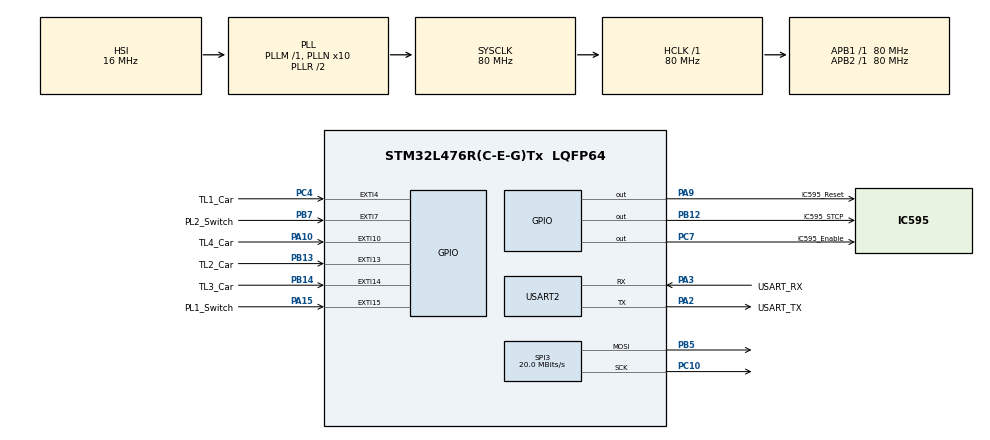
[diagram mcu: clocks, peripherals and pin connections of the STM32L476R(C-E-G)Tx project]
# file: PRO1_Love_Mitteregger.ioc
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FREERTOS.Mutexes01=mutex,Dynamic,NULL;buttonMutex,Dynamic,NULL
FREERTOS.Tasks01=idleTask,16,128,StartIdle,Default,NULL,Dynamic,NULL,NULL;pedestrianTask,40,128,StartPedestrian,Default,NULL,Dynamic,NULL,NULL;trafficTask,24,128,StartTraffic,Default,NULL,Dynamic,NULL,NULL;toggleW,48,128,StartToggleW,Default,NULL,Dynamic,NULL,NULL;toggleN,48,128,StartToggleN,Default,NULL,Dynamic,NULL,NULL;pedestrianTaskB,40,128,StartPedestrianB,Default,NULL,Dynamic,NULL,NULL;pedestrianDoubl,40,128,StartDouble,Default,NULL,Dynamic,NULL,NULL
FREERTOS.configTOTAL_HEAP_SIZE=5000
Mcu.Family=STM32L4
Mcu.Name=STM32L476R(C-E-G)Tx
Mcu.Package=LQFP64
NVIC.EXTI15_10_IRQn=true\:5\:0\:false\:false\:true\:true\:true\:true\:true
NVIC.EXTI9_5_IRQn=true\:5\:0\:false\:false\:true\:true\:true\:true\:true
NVIC.PriorityGroup=NVIC_PRIORITYGROUP_4
NVIC.TIM1_UP_TIM16_IRQn=true\:15\:0\:false\:false\:true\:false\:false\:true\:true
NVIC.TimeBase=TIM1_UP_TIM16_IRQn
NVIC.TimeBaseIP=TIM1
PA10.GPIO_Label=TL4_Car
PA10.GPIO_ModeDefaultEXTI=GPIO_MODE_EVT_RISING_FALLING
PA10.Signal=GPXTI10
PA13\ (JTMS-SWDIO).GPIO_Label=TMS
PA13\ (JTMS-SWDIO).Mode=Serial_Wire
PA13\ (JTMS-SWDIO).Signal=SYS_JTMS-SWDIO
PA14\ (JTCK-SWCLK).GPIO_Label=TCK
PA14\ (JTCK-SWCLK).Mode=Serial_Wire
PA14\ (JTCK-SWCLK).Signal=SYS_JTCK-SWCLK
PA15\ (JTDI).GPIO_Label=PL1_Switch
PA15\ (JTDI).GPIO_ModeDefaultEXTI=GPIO_MODE_IT_FALLING
PA15\ (JTDI).GPIO_PuPd=GPIO_PULLUP
PA15\ (JTDI).Signal=GPXTI15
PA2.GPIO_Label=USART_TX
PA2.GPIO_Mode=GPIO_MODE_AF_PP
PA2.GPIO_PuPd=GPIO_NOPULL
PA2.GPIO_Speed=GPIO_SPEED_FREQ_VERY_HIGH
PA2.Mode=Asynchronous
PA2.Signal=USART2_TX
PA3.GPIO_Label=USART_RX
PA3.GPIO_Mode=GPIO_MODE_AF_PP
PA3.GPIO_PuPd=GPIO_NOPULL
PA3.GPIO_Speed=GPIO_SPEED_FREQ_VERY_HIGH
PA3.Mode=Asynchronous
PA3.Signal=USART2_RX
PA9.GPIO_Label=IC595_Reset
PA9.GPIO_PuPd=GPIO_PULLUP
PA9.PinState=GPIO_PIN_RESET
PA9.Signal=GPIO_Output
PB12.GPIO_Label=IC595_STCP
PB12.GPIO_PuPd=GPIO_PULLDOWN
PB12.Signal=GPIO_Output
PB13.GPIO_Label=TL2_Car
PB13.GPIO_ModeDefaultEXTI=GPIO_MODE_EVT_RISING_FALLING
PB13.Signal=GPXTI13
PB14.GPIO_Label=TL3_Car
PB14.GPIO_ModeDefaultEXTI=GPIO_MODE_EVT_RISING_FALLING
PB14.Signal=GPXTI14
PB3\ (JTDO-TRACESWO).GPIO_Label=SWO
PB3\ (JTDO-TRACESWO).Signal=SYS_JTDO-SWO
PB5.Mode=TX_Only_Simplex_Unidirect_Master
PB5.Signal=SPI3_MOSI
PB7.GPIO_Label=PL2_Switch
PB7.GPIO_ModeDefaultEXTI=GPIO_MODE_IT_FALLING
PB7.GPIO_PuPd=GPIO_PULLUP
PB7.Signal=GPXTI7
PC10.Mode=TX_Only_Simplex_Unidirect_Master
PC10.Signal=SPI3_SCK
PC14-OSC32_IN\ (PC14).Mode=LSE-External-Oscillator
PC14-OSC32_IN\ (PC14).Signal=RCC_OSC32_IN
PC15-OSC32_OUT\ (PC15).Mode=LSE-External-Oscillator
PC15-OSC32_OUT\ (PC15).Signal=RCC_OSC32_OUT
PC4.GPIO_Label=TL1_Car
PC4.GPIO_ModeDefaultEXTI=GPIO_MODE_EVT_RISING_FALLING
PC4.Signal=GPXTI4
PC7.GPIO_Label=IC595_Enable
PC7.GPIO_PuPd=GPIO_NOPULL
PC7.Signal=GPIO_Output
PH0-OSC_IN\ (PH0).Signal=RCC_OSC_IN
PH1-OSC_OUT\ (PH1).Signal=RCC_OSC_OUT
ProjectManager.HeapSize=0x200
ProjectManager.StackSize=0x400
ProjectManager.TargetToolchain=STM32CubeIDE
RCC.ADCFreq_Value=64000000
RCC.AHBFreq_Value=80000000
RCC.APB1Freq_Value=80000000
RCC.APB1TimFreq_Value=80000000
RCC.APB2Freq_Value=80000000
RCC.APB2TimFreq_Value=80000000
RCC.CortexFreq_Value=80000000
RCC.HCLKFreq_Value=80000000
RCC.HSE_VALUE=8000000
RCC.HSI_VALUE=16000000
RCC.MSI_VALUE=4000000
RCC.PLLN=10
RCC.PLLSourceVirtual=RCC_PLLSOURCE_HSI
RCC.PREFETCH_ENABLE=1
RCC.SYSCLKFreq_VALUE=80000000
RCC.SYSCLKSource=RCC_SYSCLKSOURCE_PLLCLK
RCC.USBFreq_Value=64000000
RCC.VCOOutputFreq_Value=160000000
SPI3.BaudRatePrescaler=SPI_BAUDRATEPRESCALER_4
SPI3.CalculateBaudRate=20.0 MBits/s
SPI3.DataSize=SPI_DATASIZE_8BIT
SPI3.Direction=SPI_DIRECTION_2LINES
SPI3.FirstBit=SPI_FIRSTBIT_MSB
SPI3.Mode=SPI_MODE_MASTER
SPI3.VirtualType=VM_MASTER
USART2.VirtualMode-Asynchronous=VM_ASYNC
VP_FREERTOS_VS_CMSIS_V2.Mode=CMSIS_V2
VP_SYS_VS_tim1.Mode=TIM1
board=NUCLEO-L476RG

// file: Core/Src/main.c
/* USER CODE BEGIN Header */
/**
 ******************************************************************************
 * @file           : main.c
 * @brief          : Main program body
 ******************************************************************************
 * @attention
 *
 * Copyright (c) 2023 STMicroelectronics.
 * All rights reserved.
 *
 * This software is licensed under terms that can be found in the LICENSE file
 * in the root directory of this software component.
 * If no LICENSE file comes with this software, it is provided AS-IS.
 *
 ******************************************************************************
 */
/* USER CODE END Header */
#include "main.h"
#include "cmsis_os.h"
#include "spi.h"
#include "usart.h"
#include "gpio.h"

/* USER CODE BEGIN Includes */
#include "pro1_funct.h"
#include "pro1_test.h"
/* USER CODE END Includes */

/* USER CODE BEGIN PD */
#define RUN_TEST_PROGRAM
/* USER CODE END PD */

void SystemClock_Config(void);
void MX_FREERTOS_Init(void);

int main(void)
{

  /* MCU Configuration--------------------------------------------------------*/

  /* Reset of all peripherals, Initializes the Flash interface and the Systick. */
  HAL_Init();

  /* Configure the system clock */
  SystemClock_Config();

  /* Initialize all configured peripherals */
  MX_GPIO_Init();
  MX_USART2_UART_Init();
  MX_SPI3_Init();
  /* USER CODE BEGIN 2 */
#ifdef RUN_TEST_PROGRAM
	init_Test();
#else
	system_init();
#endif

  /* USER CODE END 2 */

  /* Init scheduler */
  osKernelInitialize();  /* Call init function for freertos objects (in freertos.c) */
  MX_FREERTOS_Init();

  /* Start scheduler */
  osKernelStart();
  /* We should never get here as control is now taken by the scheduler */
  /* Infinite loop */
  /* USER CODE BEGIN WHILE */
	while (1)
	{
#ifdef RUN_TEST_PROGRAM
	//trafficLED_Test_EW();
	//pedestrianLED_Test_W();
	//trafficSwitch_Test_NS();
	//trafficSwitch_Test_EW();
	//pedestrianSwitch_Test_N();
	//pedestrianSwitch_Test_W();
#else
#endif
    /* USER CODE END WHILE */

	}
}

void SystemClock_Config(void)
{
  RCC_OscInitTypeDef RCC_OscInitStruct = {0};
  RCC_ClkInitTypeDef RCC_ClkInitStruct = {0};

  /** Configure the main internal regulator output voltage
  */
  if (HAL_PWREx_ControlVoltageScaling(PWR_REGULATOR_VOLTAGE_SCALE1) != HAL_OK)
  {
    Error_Handler();
  }

  /** Initializes the RCC Oscillators according to the specified parameters
  * in the RCC_OscInitTypeDef structure.
  */
  RCC_OscInitStruct.OscillatorType = RCC_OSCILLATORTYPE_HSI;
  RCC_OscInitStruct.HSIState = RCC_HSI_ON;
  RCC_OscInitStruct.HSICalibrationValue = RCC_HSICALIBRATION_DEFAULT;
  RCC_OscInitStruct.PLL.PLLState = RCC_PLL_ON;
  RCC_OscInitStruct.PLL.PLLSource = RCC_PLLSOURCE_HSI;
  RCC_OscInitStruct.PLL.PLLM = 1;
  RCC_OscInitStruct.PLL.PLLN = 10;
  RCC_OscInitStruct.PLL.PLLP = RCC_PLLP_DIV7;
  RCC_OscInitStruct.PLL.PLLQ = RCC_PLLQ_DIV2;
  RCC_OscInitStruct.PLL.PLLR = RCC_PLLR_DIV2;
  if (HAL_RCC_OscConfig(&RCC_OscInitStruct) != HAL_OK)
  {
    Error_Handler();
  }

  /** Initializes the CPU, AHB and APB buses clocks
  */
  RCC_ClkInitStruct.ClockType = RCC_CLOCKTYPE_HCLK|RCC_CLOCKTYPE_SYSCLK
                              |RCC_CLOCKTYPE_PCLK1|RCC_CLOCKTYPE_PCLK2;
  RCC_ClkInitStruct.SYSCLKSource = RCC_SYSCLKSOURCE_PLLCLK;
  RCC_ClkInitStruct.AHBCLKDivider = RCC_SYSCLK_DIV1;
  RCC_ClkInitStruct.APB1CLKDivider = RCC_HCLK_DIV1;
  RCC_ClkInitStruct.APB2CLKDivider = RCC_HCLK_DIV1;

  if (HAL_RCC_ClockConfig(&RCC_ClkInitStruct, FLASH_LATENCY_4) != HAL_OK)
  {
    Error_Handler();
  }
}

void HAL_TIM_PeriodElapsedCallback(TIM_HandleTypeDef *htim)
{
  if (htim->Instance == TIM1) {
    HAL_IncTick();
  }
}

void Error_Handler(void)
{
	__disable_irq();
	while (1)
	{
	}
}

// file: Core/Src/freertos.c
/* USER CODE BEGIN Header */
/**
 ******************************************************************************
 * File Name          : freertos.c
 * Description        : Code for freertos applications
 ******************************************************************************
 * @attention
 *
 * Copyright (c) 2023 STMicroelectronics.
 * All rights reserved.
 *
 * This software is licensed under terms that can be found in the LICENSE file
 * in the root directory of this software component.
 * If no LICENSE file comes with this software, it is provided AS-IS.
 *
 ******************************************************************************
 */

/*
 ************************************************************************************
 *  Created on: Dec 8, 2023															*
 *      Author: Love Mitteregger													*
 ************************************************************************************
 *																					*
 *	MIT License is applied for the following tasks, and the following tasks only:	*
 *	- StartIdle																		*
 *	- StartPedestrian																*
 *	- StartTraffic																	*
 *	- StartToggleW																	*
 *	- StartToggleN																	*
 *	- StartPedestrianB																*
 *	Defined in the code below within this 'freertos.c' file.						*
 *																					*
 *	Copyright (c) 2023 Love Mitteregger												*
 *																					*
 *	Permission is hereby granted, free of charge, to any person obtaining a copy	*
 *	of this software and associated documentation files (the "Software"), to deal	*
 *	in the Software without restriction, including without limitation the rights	*
 *	to use, copy, modify, merge, publish, distribute, sublicense, and/or sell		*
 *	copies of the Software, and to permit persons to whom the Software is			*
 *	furnished to do so, subject to the following conditions:						*
 *																					*
 *	The above copyright notice and this permission notice shall be included in all	*
 *	copies or substantial portions of the Software.									*
 *																					*
 *	THE SOFTWARE IS PROVIDED "AS IS", WITHOUT WARRANTY OF ANY KIND, EXPRESS OR		*
 *	IMPLIED, INCLUDING BUT NOT LIMITED TO THE WARRANTIES OF MERCHANTABILITY,		*
 *	FITNESS FOR A PARTICULAR PURPOSE AND NONINFRINGEMENT. IN NO EVENT SHALL THE		*
 *	AUTHORS OR COPYRIGHT HOLDERS BE LIABLE FOR ANY CLAIM, DAMAGES OR OTHER			*
 *	LIABILITY, WHETHER IN AN ACTION OF CONTRACT, TORT OR OTHERWISE, ARISING FROM,	*
 *	OUT OF OR IN CONNECTION WITH THE SOFTWARE OR THE USE OR OTHER DEALINGS IN THE	*
 *	SOFTWARE.																		*
 *																					*
 ************************************************************************************/
/* USER CODE END Header */

#include "FreeRTOS.h"
#include "task.h"
#include "main.h"
#include "cmsis_os.h"

/* USER CODE BEGIN Includes */
#include "semphr.h"
#include "pro1_funct.h"
#include "pro1_test.h"
/* USER CODE END Includes */

/* USER CODE BEGIN PTD */
#define RUN_PROGRAM_VARIABLES
#define RUN_IDLE
#define RUN_PEDESTRIAN
#define RUN_TRAFFIC
#define RUN_TOGGLEW
#define RUN_TOGGLEN
/* USER CODE END PTD */

/* USER CODE BEGIN Variables */
#ifdef RUN_PROGRAM_VARIABLES
const TickType_t sysDelay = pdMS_TO_TICKS(800);			// used to avoid system hickup
const TickType_t mutexDelay = pdMS_TO_TICKS(500);		// used to avoid mutex hickup
const TickType_t toggleFreq = pdMS_TO_TICKS(250);		// arguments is ms, then coverted to ticks
const TickType_t walkingDelay = pdMS_TO_TICKS(12000);	// Real life ?? ms 3 for testing 17 for simulating
const TickType_t pedestrianDelay = pdMS_TO_TICKS(3000);
const TickType_t safetyDelay = pdMS_TO_TICKS(3000);		// Real life ~6000 ms
const TickType_t greenDelay = pdMS_TO_TICKS(8000); 		// Real life ~47000 ms
const TickType_t orangeDelay = pdMS_TO_TICKS(2500); 	// Real life ~5000 ms
const TickType_t redDelayMax = pdMS_TO_TICKS(1000);		// Real life ?? ms

long startTime;
long endTime;
long elapsedTime;

extern volatile uint8_t buttonNorthFlag;
extern volatile uint8_t buttonWestFlag;

volatile uint8_t statusPedestrian_N = 0;
volatile uint8_t statusPedestrian_W = 1;
volatile uint8_t statusTraffic_NS = 1;
volatile uint8_t statusTraffic_EW = 0;
volatile uint8_t lastActive_NS = 1;

volatile uint8_t statusVehicle_N = 0;
volatile uint8_t statusVehicle_S = 0;
volatile uint8_t statusVehicle_E = 0;
volatile uint8_t statusVehicle_W = 0;
uint8_t pendingTraffic = 0;
#else
// Required program delays, in ms.
const TickType_t sysDelay = pdMS_TO_TICKS(800);			// used to avoid mutex hickup
const TickType_t toggleFreq = pdMS_TO_TICKS(250);		// arguments is ms, then coverted to ticks
const TickType_t walkingDelay = pdMS_TO_TICKS(12000);	// Real life ?? ms 3 for testing 17 for simulating
const TickType_t pedestrianDelay = pdMS_TO_TICKS(3000);
const TickType_t safetyDelay = pdMS_TO_TICKS(3000);		// Real life ~6000 ms
const TickType_t greenDelay = pdMS_TO_TICKS(8000); 		// Real life ~47000 ms
const TickType_t orangeDelay = pdMS_TO_TICKS(2500); 	// Real life ~5000 ms
const TickType_t redDelayMax = pdMS_TO_TICKS(500);		// Real life ?? ms
const TickType_t testingDelay = pdMS_TO_TICKS(500); // ms to ticks
const TickType_t testingDelay2 = pdMS_TO_TICKS(80000); // ms to ticks

long startTime;
long endTime;
long elapsedTime;

extern volatile uint8_t buttonNorthFlag;
extern volatile uint8_t buttonWestFlag;

volatile uint8_t statusPedestrian_N = 0;
volatile uint8_t statusPedestrian_W = 1;
volatile uint8_t statusTraffic_NS = 1;
volatile uint8_t statusTraffic_EW = 0;

volatile uint8_t statusVehicle_N = 0;
volatile uint8_t statusVehicle_S = 0;
volatile uint8_t statusVehicle_E = 0;
volatile uint8_t statusVehicle_W = 0;
uint8_t pendingTraffic = 0;

uint8_t testVar = 1;

#endif
/* USER CODE END Variables */
/* Definitions for idleTask */
osThreadId_t idleTaskHandle;
const osThreadAttr_t idleTask_attributes = {
  .name = "idleTask",
  .stack_size = 128 * 4,
  .priority = (osPriority_t) osPriorityBelowNormal,
};
/* Definitions for pedestrianTask */
osThreadId_t pedestrianTaskHandle;
const osThreadAttr_t pedestrianTask_attributes = {
  .name = "pedestrianTask",
  .stack_size = 128 * 4,
  .priority = (osPriority_t) osPriorityHigh,
};
/* Definitions for trafficTask */
osThreadId_t trafficTaskHandle;
const osThreadAttr_t trafficTask_attributes = {
  .name = "trafficTask",
  .stack_size = 128 * 4,
  .priority = (osPriority_t) osPriorityNormal,
};
/* Definitions for toggleW */
osThreadId_t toggleWHandle;
const osThreadAttr_t toggleW_attributes = {
  .name = "toggleW",
  .stack_size = 128 * 4,
  .priority = (osPriority_t) osPriorityRealtime,
};
/* Definitions for toggleN */
osThreadId_t toggleNHandle;
const osThreadAttr_t toggleN_attributes = {
  .name = "toggleN",
  .stack_size = 128 * 4,
  .priority = (osPriority_t) osPriorityRealtime,
};
/* Definitions for pedestrianTaskB */
osThreadId_t pedestrianTaskBHandle;
const osThreadAttr_t pedestrianTaskB_attributes = {
  .name = "pedestrianTaskB",
  .stack_size = 128 * 4,
  .priority = (osPriority_t) osPriorityHigh,
};
/* Definitions for pedestrianDoubl */
osThreadId_t pedestrianDoublHandle;
const osThreadAttr_t pedestrianDoubl_attributes = {
  .name = "pedestrianDoubl",
  .stack_size = 128 * 4,
  .priority = (osPriority_t) osPriorityHigh,
};
/* Definitions for mutex */
osMutexId_t mutexHandle;
const osMutexAttr_t mutex_attributes = {
  .name = "mutex"
};
/* Definitions for buttonMutex */
osMutexId_t buttonMutexHandle;
const osMutexAttr_t buttonMutex_attributes = {
  .name = "buttonMutex"
};

void StartIdle(void *argument);
void StartPedestrian(void *argument);
void StartTraffic(void *argument);
void StartToggleW(void *argument);
void StartToggleN(void *argument);
void StartPedestrianB(void *argument);
void StartDouble(void *argument);

void MX_FREERTOS_Init(void); /* (MISRA C 2004 rule 8.1) */

void MX_FREERTOS_Init(void) {
  /* Create the mutex(es) */
  /* creation of mutex */
  mutexHandle = osMutexNew(&mutex_attributes);

  /* creation of buttonMutex */
  buttonMutexHandle = osMutexNew(&buttonMutex_attributes);

  /* Create the thread(s) */
  /* creation of idleTask */
  idleTaskHandle = osThreadNew(StartIdle, NULL, &idleTask_attributes);

  /* creation of pedestrianTask */
  pedestrianTaskHandle = osThreadNew(StartPedestrian, NULL, &pedestrianTask_attributes);

  /* creation of trafficTask */
  trafficTaskHandle = osThreadNew(StartTraffic, NULL, &trafficTask_attributes);

  /* creation of toggleW */
  toggleWHandle = osThreadNew(StartToggleW, NULL, &toggleW_attributes);

  /* creation of toggleN */
  toggleNHandle = osThreadNew(StartToggleN, NULL, &toggleN_attributes);

  /* creation of pedestrianTaskB */
  pedestrianTaskBHandle = osThreadNew(StartPedestrianB, NULL, &pedestrianTaskB_attributes);

  /* creation of pedestrianDoubl */
  pedestrianDoublHandle = osThreadNew(StartDouble, NULL, &pedestrianDoubl_attributes);

}

/* USER CODE BEGIN Header_StartIdle */
/**
 * @brief  Function implementing the idleTask thread.
 * @param  argument: Not used
 * @retval None
 *
 * The StartIdle task is assigned a priority level of 9 out of 48.
 *
 * The purpose of the task is to simulate a state where there are no
 * active cars in any direction, and no pedestrians who wish to cross
 * at a given point of time.
 *
 * Despite no external activity, the idle task circulates between
 * the enable and disable traffic protocols, pending the active
 * traffic and pedestrian lights of each street direction
 * synchroniously, without keeping traffic enabled in both
 * directions simultaneously.
 *
 * The conditions for the StartIdle task to run is that no other
 * higher priority task currently is executing a larger set of
 * instructions (occupying resources).
 *
 * Furthermore, the functions within the task are only executed if
 * the StartIdle task has been given the mutex semaphore or if
 * there is no pending traffic in any direction and if neither the
 * pedestrian crossing buttons have been activated. Note that
 * the StartIdle task can of course run while there is pending
 * traffic, or either of the pedestrian corssing buttons have been
 * activated, if it has already taken the mutex semaphore.
 *
 * The StartIdle task ensures that an enable or disable sequence
 * completes for a given direction, before it can be interrupted by
 * a higher priority task. This is done by giving the StartIdle
 * task the mutexHandle semaphore, preventing the other tasks to
 * utilize the resources of the microprocessor unit.
 *
 * Once a sequence is completed and the traffic lights of a
 * direction is set, the mutex is returned and available
 * for another task to take.
 *
 * Another task may then take the mutex as it is returned and,
 * for example, renable the traffic lights of the direction that just
 * were disabled, before returning the mutex and allowing for the
 * StartIdle task to retake the mutex and proceeding with its next
 * instruction.
 *
 * If this occurs, there may be a risk that the StartIdle tasks next
 * in line instruction is set to enable the traffic lights of the
 * opposite direction of the renabled direction, as the StartIdle task
 * previously had deactiavated the renabled direction. Causing all
 * traffic lights to go green, resulting in havoc.
 *
 * To avoid that the green lights of a traffic direction is enabled while
 * the opposite traffic direction already is enabled, due to for example
 * the routine of another task that for a while took the mutex, a check
 * is implemented to confirm that the traffic lights of the opposite
 * direction are indeed already turned red, before proceeding with
 * sequence for enabling the traffic lights for the specific direction.
 *
 */
/* USER CODE END Header_StartIdle */
void StartIdle(void *argument)
{
  /* USER CODE BEGIN StartIdle */
	/* Infinite loop */
	while(1)
	{
#ifdef RUN_IDLE
		// Recursive while loop that first checks if there is NOT any pending traffic NOR any activated pedestrian crossing buttons, before proceeding
		if( !pendingTraffic && (!buttonWestFlag || !buttonNorthFlag) ) {
			// If there currently is traffic in the NORTH and SOUTH direction, and the NORTH pedestrian crossing buttons have not been activated
			if (statusTraffic_NS && !buttonNorthFlag) {
				xSemaphoreTake(mutexHandle, 0);				// Take the mutexHandle semaphore IF it is available AT THIS VERY INSTANT
				disableTraffic(T_NORTHSOUTH, P_WEST);		// If mutex could be taken, proceed with disable sequence for the NORTH and SOUTH direction and WEST pedestrian crossing
				xSemaphoreGive(mutexHandle);				// Give mutex back for any other task to take
				vTaskDelay(mutexDelay);						// Small delay to ensure that the MPU properly gives back the mutex semaphore
				xSemaphoreTake(mutexHandle, portMAX_DELAY);	// If mutex is available, take it again, else WAIT INDEFINITELY until the mutex semaphore becomes available
				if (!statusTraffic_NS) {					// When mutex finally is taken, confirm that there currently is not enabled traffic in the NORTH and SOUTH direction
					activateTraffic(T_EASTWEST, P_NORTH);	// If traffic in NORTH and SOUTH direction is disabled, then enable traffic in EAST and WEST direction and NORTH pedestrian crossing
				}
				xSemaphoreGive(mutexHandle);				// Return the semaphore for other tasks to take
			// Else, if there currently is traffic in the EAST and WEST direction, and the WEST pedestrian crossing buttons have not been activated
			} else if (statusTraffic_EW && !buttonWestFlag){
				xSemaphoreTake(mutexHandle, 0);				// Take the mutexHandle semaphore IF it is available AT THIS VERY INSTANT
				disableTraffic(T_EASTWEST, P_NORTH);		// If mutex could be taken, proceed with disable sequence for the EAST and WEST direction and NORTH pedestrian crossing
				xSemaphoreGive(mutexHandle);				// Give mutex back for any other task to take
				vTaskDelay(mutexDelay);						// Small delay to ensure that the MPU properly gives back the mutex semaphore
				xSemaphoreTake(mutexHandle, portMAX_DELAY); // If mutex is available, take it again, else WAIT INDEFINITELY until the mutex semaphore becomes available
				if (!statusTraffic_EW) {					// When mutex finally is taken, confirm that there currently is not enabled traffic in the EAST and WEST direction
					activateTraffic(T_NORTHSOUTH, P_WEST);	// If traffic in EAST and WEST direction is disabled, then enable traffic in NORTH and SOUTH direction and WEST pedestrian crossing
				}
				xSemaphoreGive(mutexHandle);				// Return the semaphore for other tasks to take
			}
			vTaskDelay(greenDelay);	// Either the NORT and SOUTH or EAST and WEST directions have been enabled, the traffic lights should remain GREEN for greenDelay ms
		}													// before the StartIdle task recursively runs for another loop and cycles the traffic lights statuses
#else
		if( !pendingTraffic && (!buttonWestFlag || !buttonNorthFlag)) {
			if (statusTraffic_NS && !buttonNorthFlag) {
				xSemaphoreTake(mutexHandle, 0);
				disableTraffic_Test(T_NORTHSOUTH, P_WEST);
				xSemaphoreGive(mutexHandle);
				vTaskDelay(testingDelay);
				xSemaphoreTake(mutexHandle, portMAX_DELAY);
				if (!statusTraffic_NS) {
					activateTraffic_Test(T_EASTWEST, P_NORTH);
				}
				xSemaphoreGive(mutexHandle);
			} else if (statusTraffic_EW && !buttonWestFlag){
				xSemaphoreTake(mutexHandle, 0);
				disableTraffic_Test(T_EASTWEST, P_NORTH);
				xSemaphoreGive(mutexHandle);
				vTaskDelay( testingDelay );
				xSemaphoreTake(mutexHandle, portMAX_DELAY);
				if (!statusTraffic_EW) {
					activateTraffic_Test(T_NORTHSOUTH, P_WEST);
				}
				xSemaphoreGive(mutexHandle);
			}
			vTaskDelay(greenDelay);
		}
#endif
		osDelay(1);
	}
  /* USER CODE END StartIdle */
}

void StartPedestrian(void *argument)
{
  /* USER CODE BEGIN StartPedestrian */
	/* Infinite loop */
	for(;;)
	{
#ifdef RUN_PEDESTRIAN
		// Note1, see StartDouble TASK for general comments regarding the logic of the pedestrian crossings
		// Note2, see StartPedestrianB for the other parallel priority task where traffic lights are changed due to the north pedestrian crossing buttons being pressed
		if (buttonWestFlag && !buttonNorthFlag) { // If the west pedestrian crossing buttons are pressed, proceed
			xSemaphoreTake(mutexHandle, portMAX_DELAY); // TAKE MUTEX
			if (statusPedestrian_W) {
				buttonWestFlag = 0;
			} else if (!lastActive_NS && !statusTraffic_EW && !statusTraffic_NS) {
				activateTraffic(T_NORTHSOUTH, P_WEST);
				vTaskDelay(walkingDelay);
			} else if (lastActive_NS && !statusTraffic_EW && !statusTraffic_NS) {
				if (buttonNorthFlag) {
					activateTraffic(T_NORTHSOUTH, P_WEST);
					vTaskDelay(walkingDelay);
					disableTraffic(T_EASTWEST, P_NORTH);
					activateTraffic(T_NORTHSOUTH, P_WEST);
					vTaskDelay(walkingDelay);
				} else {
					activateTraffic(T_NORTHSOUTH, P_WEST);
					vTaskDelay(walkingDelay);
				}
			} else if (!lastActive_NS && statusTraffic_EW) {
				disableTraffic(T_EASTWEST, P_NORTH);
				activateTraffic(T_NORTHSOUTH, P_WEST);
				vTaskDelay(walkingDelay);
			} else if (lastActive_NS && statusTraffic_EW) {
				if (buttonNorthFlag) {
					continue;
				} else {
					disableTraffic(T_EASTWEST, P_NORTH);
					activateTraffic(T_NORTHSOUTH, P_WEST);
					vTaskDelay(walkingDelay);
				}
			}
			buttonWestFlag = 0;
			xSemaphoreGive(mutexHandle); // GIVE MUTEX
		}
#else
		if (buttonWestFlag || buttonNorthFlag) {
			xSemaphoreTake(mutexHandle, portMAX_DELAY);
			if (buttonWestFlag && !buttonNorthFlag) {
				if (statusPedestrian_W) {
					buttonWestFlag = 0;
				} else if (statusTraffic_EW) {
					disableTraffic_Test(T_EASTWEST, P_NORTH);
					activateTraffic_Test(T_NORTHSOUTH, P_WEST);
					vTaskDelay(walkingDelay);
				} else if (!statusTraffic_NS && !statusTraffic_EW) {
					activateTraffic_Test(T_NORTHSOUTH, P_WEST);
					vTaskDelay(walkingDelay);
				}
			} else if (!buttonWestFlag && buttonNorthFlag) {
				if (statusPedestrian_N) {
					buttonWestFlag = 0;
				} else if (statusTraffic_NS) {
					disableTraffic_Test(T_NORTHSOUTH, P_WEST);
					activateTraffic_Test(T_EASTWEST, P_NORTH);
					vTaskDelay(walkingDelay);
				} else if (!statusTraffic_NS && !statusTraffic_EW) {
					activateTraffic_Test(T_EASTWEST, P_NORTH);
					vTaskDelay(walkingDelay);
				}

			} else if (buttonWestFlag && buttonNorthFlag) {
				if (statusPedestrian_W) {
					buttonWestFlag = 0;
				} else if (statusPedestrian_N) {
					buttonWestFlag = 0;
				}
			}
			xSemaphoreGive(mutexHandle);
			vTaskDelay(sysDelay);
		}
#endif
		osDelay(1);
	}
  /* USER CODE END StartPedestrian */
}

/* USER CODE BEGIN Header_StartTraffic */
/**
 * @brief Function implementing the trafficTask thread.
 * @param argument: Not used
 * @retval None
 *
 * The StartTraffic task is assigned a priority level 17 out of 48
 *
 * The purpose of the task is to simulate a state where there are
 * active vehicles in any direction or multiple directions
 * simultaneously, and no pedestrians who wish to cross at a
 * given point of time.
 *
 * The conditions for the StartIdle task to run is that no other
 * higher priority task currently is executing a larger set of
 * instructions (occupying resources).
 *
 * Furthermore, the functions within the task are only executed if
 * the polling conducted by the checkTraffic function returns that
 * there is indeed active traffic at a given moment of time. Again,
 * the mutex semaphore must be taken to continue executing tasks.
 * If the mutex semaphore is not available, the system will wait
 * INDEFINETIELY until it is.
 *
 * The mutex is kept until every possible traffic scenario has been
 * checked, and executed if valid.
 *
 * The possible traffic scenarios are as follows:
 * 1.	Traffic lights in all street directions are RED, and a vehicle
 * 		appears from ONE direction.
 *
 * 2.	Traffic lights remain GREEN if there are active cars in either
 * 		allowed direction and NO active cars are waiting on red traffic lights.
 * 		-	Note that a subscenario to consider in scenario 2:
 * 			The sub scenario is that a car arrives at a red light
 * 			while there are active cars in either allowed direction.
 *
 * 3.	A car arrives at a RED light and there are NO a active cars in
 * 		either allowed direction, causing the RED traffic lights to
 * 		immediately transition to GREEN.
 *
 * 4.	Congestion, which requires cycling between currently enabled direction
 * 		similar to that of the idle task.
 */
/* USER CODE END Header_StartTraffic */
void StartTraffic(void *argument)
{
  /* USER CODE BEGIN StartTraffic */
	/* Infinite loop */
	while(1)
	{
#ifdef RUN_TRAFFIC
		pendingTraffic = checkTraffic();					// Start by checking the current status of all vehicles
		if ( pendingTraffic ) {								// If there are any vehicles enabled
			xSemaphoreTake(mutexHandle, portMAX_DELAY);		// Wait INDEFINITELY to take the mutex and proceed with any of the scenarios below once taken

			// SCENARIO 1: Traffic lights in all street directions are RED, and a vehicle appears from ONE direction
			// If NEITHER DIRECTION is ENABLED and there is traffic from the NORTH OR SOUTH
			if ( (!statusTraffic_NS && !statusTraffic_EW) && (statusVehicle_N || statusVehicle_S) && (!statusVehicle_E && !statusVehicle_W) ) {
				activateTraffic(T_NORTHSOUTH, P_WEST);		// Enable traffic in NORTH and SOUTH direction, and the WEST pedestrian crossing
				vTaskDelay(greenDelay);						// Hold the lights green for greenDelay ms.
			// If NEITHER DIRECTION is ENABLED and there is traffic from the EAST OR WEST
			} else if ( (!statusTraffic_NS && !statusTraffic_EW) && (statusVehicle_E || statusVehicle_W ) && (!statusVehicle_N && !statusVehicle_S) ) {
				activateTraffic(T_EASTWEST, P_NORTH);		// Enable traffic in EAST and WEST direction, and the NORTH pedestrian crossing
				vTaskDelay(greenDelay);						// Hold the lights green for greenDelay ms.

			// SCENARIO 2 (R2.5): Traffic lights remain green if there are active cars in either allowed direction and no active cars are waiting on red traffic lights
			// If there is only traffic in the NORTH and SOUTH direction, and it is caused by either the NORTH or SOUTH vehicle only
			} else if ( (statusTraffic_NS && !statusTraffic_EW) && (statusVehicle_N || statusVehicle_S) && (!statusVehicle_E && !statusVehicle_W) ) {
				// Then confirm that there is no pedestrian that wants to cross the NORTH pedestrian crossing AND that the traffic of the NORTH and SOUTH direction is enabled
				if (statusTraffic_NS && !buttonNorthFlag) {	// If there is no pedestrian that wish to cross, keep the traffic static until a vehicle appears in ooposite direction
					staticTraffic(); 						// Subscenario 2 (R2.6), where a vehicle appears in opposite direction, is handled within the staticTraffic function
				// If a pedestrian suddenly wish to cross the NORTH pedestrian crossing
				} else if (buttonNorthFlag) {
					disableTraffic(T_NORTHSOUTH, P_WEST);	// Proceed by disabling traffic in NORTH and SOUTH direction, and for the WEST pedestrian crossing
					activateTraffic(T_EASTWEST, P_NORTH);	// Enable traffic in EAST and WEST direction, and the NORTH pedestrian crossing
					pedestrianReset(P_NORTH);				// Disable the BLUE NORTH crossing pending pedestrian indicator light by resetting it
				// Else the traffic of the NORTH and SOUTH direction is not yet enabled and as such must be anbled before being kept at a static state
				} else {
					activateTraffic(T_NORTHSOUTH, P_WEST);	// Enable traffic in NORTH and SOUTH direction, and the WEST pedestrian crossing
					staticTraffic();						// Keep the traffic static until either a pedestrian or vehicle wants to cross the current traffic direction
				}
			// If there is only traffic in the EAST and WEST direction, and it is caused by either the EAST or WEST vehicle only
			} else if ( (!statusTraffic_NS && statusTraffic_EW) && (statusVehicle_E || statusVehicle_W ) && (!statusVehicle_N && !statusVehicle_S) ) {
				// Then confirm that there is no pedestrian that wants to cross the WEST pedestrian crossing AND that the traffic of the EAST and WEST direction is enabled
				if (statusTraffic_EW && !buttonWestFlag) {
					staticTraffic(); 						// Subscenario 2 (R2.6), where a vehicle appears in opposite direction, is handled within the staticTraffic function
					// If a pedestrian suddenly wish to cross the WEST pedestrian crossing
				} else if (buttonWestFlag) {
					disableTraffic(T_EASTWEST, P_NORTH);	// Proceed by disabling traffic in EAST and WEST direction, and for the NORTH pedestrian crossing
					activateTraffic(T_NORTHSOUTH, P_WEST);	// Enable traffic in NORTH and SOUTH direction, and the WEST pedestrian crossing
					pedestrianReset(P_WEST);				// Disable the BLUE WEST crossing pending pedestrian indicator light by resetting it
				// Else the traffic of the EAST and WEST direction is not yet enabled and as such must be anbled before being kept at a static state
				} else {
					activateTraffic(T_EASTWEST, P_NORTH);	// Enable traffic in EAST and WEST direction, and the NORTH pedestrian crossing
					staticTraffic();						// Keep the traffic static until either a pedestrian or vehicle wants to cross the current traffic direction
				}

			// SCENARIO 3 (R2.7): A car arrives at a RED light and there are NO a active cars in either allowed direction, causing the RED traffic lights to immediately transition to GREEN
			// If traffic is enabled for the EAST and WEST direction, and vehicles appear from NORTH and SOUTH when there are no vehicles approaching from EAST or WEST
			} else if ( (!statusTraffic_NS && statusTraffic_EW) && (statusVehicle_N || statusVehicle_S) && (!statusVehicle_E && !statusVehicle_W)) {
				disableTraffic(T_EASTWEST, P_NORTH);		// Proceed by disabling traffic in EAST and WEST direction, and for the NORTH pedestrian crossing
				activateTraffic(T_NORTHSOUTH, P_WEST);		// Enable traffic in NORTH and SOUTH direction, and the WEST pedestrian crossing
			// If traffic is enabled for the NORTH and SOUTH direction, and vehicles appear from EAST and WEST when there are no vehicles approaching from NORTH or SOUTH
			} else if ( (statusTraffic_NS && !statusTraffic_EW) && (statusVehicle_E || statusVehicle_W) && (!statusVehicle_N && !statusVehicle_S)) {
				disableTraffic(T_NORTHSOUTH, P_WEST);		// Proceed by disabling traffic in NORTH and SOUTH direction, and for the WEST pedestrian crossing
				activateTraffic(T_EASTWEST, P_NORTH);		// Enable traffic in EAST and WEST direction, and the NORTH pedestrian crossing

			// SCENARIO 4: Congestion, which requires cycling between currently enabled direction, similar to the logic of the idle task
			// If there are vehicles appearing from every direction
			} else if ( (statusVehicle_E || statusVehicle_W ) && (statusVehicle_N || statusVehicle_S)) {
				// Confirm if the currently enabled traffic direction is NORTH and SOUTH
				if (statusTraffic_NS) {
					disableTraffic(T_NORTHSOUTH, P_WEST);	// Proceed by disabling traffic in NORTH and SOUTH direction, and for the WEST pedestrian crossing
					activateTraffic(T_EASTWEST, P_NORTH);	// Enable traffic in EAST and WEST direction, and the NORTH pedestrian crossing
				// If currently enabled traffic direction is NOT NORTH and SOUTH, it must be EAST and WEST
				} else {
					disableTraffic(T_EASTWEST, P_NORTH);	// Proceed by disabling traffic in EAST and WEST direction, and for the NORTH pedestrian crossing
					activateTraffic(T_NORTHSOUTH, P_WEST);	// Enable traffic in NORTH and SOUTH direction, and the WEST pedestrian crossing
				}
				vTaskDelay(greenDelay); 					// Must be placed last, if not then redDelayMax logic will not work properly.

			// END OF ALL SCENARIOS
			}
			xSemaphoreGive(mutexHandle);					// Return mutex for other tasks to take
		}
#else
		pendingTraffic = checkTraffic_Test();
		if ( pendingTraffic ) {
			xSemaphoreTake(mutexHandle, portMAX_DELAY);
			// If all roads are red, and a vehicle appears from ONE direction
			if ( (!statusTraffic_NS && !statusTraffic_EW) && (statusVehicle_N || statusVehicle_S) && (!statusVehicle_E && !statusVehicle_W)) {
				activateTraffic_Test(T_NORTHSOUTH, P_WEST);
				vTaskDelay(greenDelay);
			} else if ( (!statusTraffic_NS && !statusTraffic_EW) && (statusVehicle_E || statusVehicle_W ) && (!statusVehicle_N && !statusVehicle_S)) {
				activateTraffic_Test(T_EASTWEST, P_NORTH);
				vTaskDelay(greenDelay);
				// R2.5 A traffic light remains green if there are active cars in either allowed direction and no active cars are waiting on red traffic lights
			} else if ( (statusTraffic_NS && !statusTraffic_EW) && (statusVehicle_N || statusVehicle_S) && (!statusVehicle_E && !statusVehicle_W)) {
				if (statusTraffic_NS && !buttonNorthFlag) {
					staticTraffic_Test(); // R2.6 is considered within the staticTraffic_Test function
				} else if (buttonNorthFlag) {
					disableTraffic_Test(T_NORTHSOUTH, P_WEST);
					activateTraffic_Test(T_EASTWEST, P_NORTH);
					pedestrianReset_Test(P_NORTH);
				} else {
					activateTraffic_Test(T_NORTHSOUTH, P_WEST);
					staticTraffic_Test();
				}
			} else if ( (!statusTraffic_NS && statusTraffic_EW) && (statusVehicle_E || statusVehicle_W ) && (!statusVehicle_N && !statusVehicle_S)) {
				if (statusTraffic_EW && !buttonWestFlag) {
					staticTraffic_Test(); // R2.6 is considered within the staticTraffic_Test function
				} else if (buttonWestFlag) {
					disableTraffic_Test(T_EASTWEST, P_NORTH);
					activateTraffic_Test(T_NORTHSOUTH, P_WEST);
					pedestrianReset_Test(P_WEST);
				} else {
					activateTraffic_Test(T_EASTWEST, P_NORTH);
					staticTraffic_Test();
				}
				// R2.7 If a car arrives at a red light and there are no active cars in either allowed direction, the signal transitions immediately to green
			} else if ( (!statusTraffic_NS && statusTraffic_EW) && (statusVehicle_N || statusVehicle_S) && (!statusVehicle_E && !statusVehicle_W)) {
				disableTraffic_Test(T_EASTWEST, P_NORTH);
				activateTraffic_Test(T_NORTHSOUTH, P_WEST);
			} else if ( (statusTraffic_NS && !statusTraffic_EW) && (statusVehicle_E || statusVehicle_W) && (!statusVehicle_N && !statusVehicle_S)) {
				disableTraffic_Test(T_NORTHSOUTH, P_WEST);
				activateTraffic_Test(T_EASTWEST, P_NORTH);
				// Congestion - Conduct almost same logic as forever loop
			} else if ( (statusVehicle_E || statusVehicle_W ) && (statusVehicle_N || statusVehicle_S)) {
				if (statusTraffic_NS) {
					disableTraffic_Test(T_NORTHSOUTH, P_WEST);
					activateTraffic_Test(T_EASTWEST, P_NORTH);
				} else {
					disableTraffic_Test(T_EASTWEST, P_NORTH);
					activateTraffic_Test(T_NORTHSOUTH, P_WEST);
				}
				vTaskDelay(greenDelay);	// Must be placed last, if not then redDelayMax logic will not work properly.
			}
			xSemaphoreGive(mutexHandle);
		}
#endif
		osDelay(1);
	}
  /* USER CODE END StartTraffic */
}

/* USER CODE BEGIN Header_StartToggleW */
/**
 * @brief Function implementing the toggleW thread.
 * @param argument: Not used
 * @retval None
 *
 * The StartToggle task is assigned a priority level 41 out of 48
 *
 * The purpose of the task is to let the BLUE pedestrian indicator
 * lights toggle on and of at toggleFreq ms, whenever a pedestrian
 * has pushed any of the two the WEST pedestrian crossing buttons.
 *
 * The conditions for the task to run is that the WEST pedestrian
 * crossing must NOT already be enabled, neither can any of the
 * WEST pedestrian crossing buttons be read as deactivated, if
 * so is the case, the task simply just resets the BLUE pedestrian
 * indicator lights to a disabled state by pushing a low bit
 * to the the bit of the light at the shift register.
 *
 * If this condition is met, the pedestrian pending toggle
 * function is call whenever any of the WEST pedestrian pending
 * buttons are pressed, setting their indicative ISR flag
 * to high.
 *
 * Note that the pedestrian button ISR flags are set to low
 * whenever its given pedestrian crossing lights turn GREEN.
 *
 * The task is recursively run every toggleFreq ms.
 * As it is the highest priority task, it will always
 * run. However once it has executed a cycle of its forever loop,
 * the scheduler will resume the instruction of any of the lower
 * priority tasks which may for example carry out a sequence of
 * instructions that are guarded by mutex.
 * The toggle delay will ensure that the lower priority tasks can
 * proceed somewhat it with its current task before the higher
 * ToggleW task grabs all resources again to toggle the BLUE
 * indicator light ON or OFF.
 *
 * The toggle task for the WEST BLUE pedestrian indicator light
 * is defined as its own task, separate from the NORTH blue
 * pedestrian indicator light, with the same task priority to
 * allow for them to toggle on and off concurrently.
 *
 */
/* USER CODE END Header_StartToggleW */
void StartToggleW(void *argument)
{
  /* USER CODE BEGIN StartToggleW */
	/* Infinite loop */
	for(;;)
	{
#ifdef RUN_TOGGLEN
		// Initial check if the WEST pedestrian crossing has turned GREEN OR if the button ISR flag have been reset to low
		if(statusPedestrian_W || !buttonWestFlag) {
			pedestrianReset(P_WEST);	// Reset the BLUE indicator light bit to low at the shift register
		} else if (buttonWestFlag) {	// If the previous criteria is not met, and if the button ISR flag remains high
			pedestrianPending(P_WEST);	// Toggle the BLUE indicator light ON and OFF
			vTaskDelay(toggleFreq);		// wait toggleFreq ms for the next recursive toggle of the BLUE indicator light
		}
#else
#endif
		osDelay(1);
	}
  /* USER CODE END StartToggleW */
}

/* USER CODE BEGIN Header_StartToggleN */
/**
 * @brief Function implementing the toggleN thread.
 * @param argument: Not used
 * @retval None
 *
 * The StartToggle task is assigned a priority level 41 out of 48
 *
 * The purpose of the task is to let the BLUE pedestrian indicator
 * lights toggle on and of at toggleFreq ms, whenever a pedestrian
 * has pushed any of the two the NORTH pedestrian crossing buttons.
 *
 * The conditions for the task to run is that the NORTH pedestrian
 * crossing must NOT already be enabled, neither can any of the
 * NORTH pedestrian crossing buttons be read as deactivated, if
 * so is the case, the task simply just resets the BLUE pedestrian
 * indicator lights to a disabled state by pushing a low bit
 * to the the bit of the light at the shift register.
 *
 * If this condition is met, the pedestrian pending toggle
 * function is call whenever any of the NORTH pedestrian pending
 * buttons are pressed, setting their indicative ISR flag
 * to high.
 *
 * Note that the pedestrian button ISR flags are set to low
 * whenever its given pedestrian crossing lights turn GREEN.
 *
 * The task is recursively run every toggleFreq ms.
 * As it is the highest priority task, it will always
 * run. However once it has executed a cycle of its forever loop,
 * the scheduler will resume the instruction of any of the lower
 * priority tasks which may for example carry out a sequence of
 * instructions that are guarded by mutex.
 * The toggle delay will ensure that the lower priority tasks can
 * proceed somewhat it with its current task before the higher
 * ToggleW task grabs all resources again to toggle the BLUE
 * indicator light ON or OFF.
 *
 * The toggle task for the NORTH BLUE pedestrian indicator light
 * is defined as its own task, separate from the NORTH blue
 * pedestrian indicator light, with the same task priority to
 * allow for them to toggle on and off concurrently.
 *
 */
/* USER CODE END Header_StartToggleN */
void StartToggleN(void *argument)
{
  /* USER CODE BEGIN StartToggleN */
	/* Infinite loop */
	for(;;)
	{
#ifdef RUN_TOGGLEN

		// Initial check if the NORTH pedestrian crossing has turned GREEN OR if the button ISR flags have been reset to low
		if(statusPedestrian_N || !buttonNorthFlag) {
			pedestrianReset(P_NORTH);	// Reset the BLUE indicator light bit to low at the shift register
		} else if (buttonNorthFlag) {	// If the previous criteria is not met, and if the button ISR flag remains high
			pedestrianPending(P_NORTH);	// Toggle the BLUE indicator light ON and OFF
			vTaskDelay(toggleFreq);		// wait toggleFreq ms for the next recursive toggle of the BLUE indicator light
		}
#else
#endif
		osDelay(1);
	}
  /* USER CODE END StartToggleN */
}

void StartPedestrianB(void *argument)
{
  /* USER CODE BEGIN StartPedestrianB */
	/* Infinite loop */
	for(;;)
	{
		if (buttonNorthFlag && !buttonWestFlag) {
			xSemaphoreTake(mutexHandle, portMAX_DELAY); // TAKE MUTEX
			if (statusPedestrian_N) {
				buttonNorthFlag = 0;
			} else if (lastActive_NS && !statusTraffic_EW && !statusTraffic_NS) {
				activateTraffic(T_EASTWEST, P_NORTH);
				vTaskDelay(walkingDelay);
			} else if (!lastActive_NS && !statusTraffic_EW && !statusTraffic_NS) {
				if (buttonWestFlag) {
					activateTraffic(T_EASTWEST, P_NORTH);
					vTaskDelay(walkingDelay);
					disableTraffic(T_NORTHSOUTH, P_WEST);
					activateTraffic(T_EASTWEST, P_NORTH);
					vTaskDelay(walkingDelay);
				} else {
					activateTraffic(T_EASTWEST, P_NORTH);
					vTaskDelay(walkingDelay);
				}
			} else if (!lastActive_NS && statusTraffic_NS) {
				if (buttonWestFlag) {
					continue;
				} else {
					disableTraffic(T_NORTHSOUTH, P_WEST);
					activateTraffic(T_EASTWEST, P_NORTH);
					vTaskDelay(walkingDelay);
				}
			} else if (lastActive_NS && statusTraffic_NS) {
				disableTraffic(T_NORTHSOUTH, P_WEST);
				activateTraffic(T_EASTWEST, P_NORTH);
				vTaskDelay(walkingDelay);
			}
			buttonNorthFlag = 0;
			xSemaphoreGive(mutexHandle); // GIVE MUTEX
		}
		osDelay(1);
	}
  /* USER CODE END StartPedestrianB */
}

void StartDouble(void *argument)
{
  /* USER CODE BEGIN StartDouble */
  /* Infinite loop */
  for(;;)
  {
	  // Higher priority task set to run when both north and west pedestrian crossing are activated
	  if (buttonNorthFlag && buttonWestFlag) {
		  xSemaphoreTake(mutexHandle, portMAX_DELAY); // TAKE MUTEX
		  // Initial check to confirm if any of the crossings already are green, if so is the case the function should break out of the loop
		  if (statusPedestrian_N) {
			  buttonNorthFlag = 0;	// Break command is not added since it has not yet been tested, but the program should pass the next
		  } else if (statusPedestrian_W) {	// if and else if statements without executing them as one of the button flags will be low.
			  buttonWestFlag = 0;
		  }
		  // Scenario: If the last direction with green light was the NORTH and SOUTH direction, and both buttons are pressed and all traffic lights are red
		  if (lastActive_NS && buttonNorthFlag && buttonWestFlag && !statusTraffic_EW && !statusTraffic_NS) {
			  activateTraffic(T_EASTWEST, P_NORTH);	// Then proceed by first activating the traffic of the EAST and WEST direction and the NORTH pedestrian crossing
			  vTaskDelay(walkingDelay);				// Keep the lights green for walkingDelay ms
			  disableTraffic(T_EASTWEST, P_NORTH);	// Deactivate the lights and proceed by activating the traffic lights for NORTH and SOUTh, and the WEST pedestrian crossing
			  activateTraffic(T_NORTHSOUTH, P_WEST);
			  vTaskDelay(walkingDelay);				// Keep the lights green forw alkingDelay ms
		  // Scenario: If the last direction with green light was the EAST and WEST direction, and both buttons are pressed and all traffic lights are red
		  } else if (!lastActive_NS && buttonNorthFlag && buttonWestFlag && !statusTraffic_EW && !statusTraffic_NS) {
			  activateTraffic(T_NORTHSOUTH, P_WEST);// Do the same as previous if statement, but swap the directions
			  vTaskDelay(walkingDelay);
			  disableTraffic(T_NORTHSOUTH, P_WEST);
			  activateTraffic(T_EASTWEST, P_NORTH);
			  vTaskDelay(walkingDelay);
		  // Scenario: If the last direction with green light was the NORTH and SOUTH direction, and both buttons are pressed
		  // and the traffic is currently green for EAST and WEST direction, but not the north and south direction
		  } else if (lastActive_NS && buttonNorthFlag && buttonWestFlag && statusTraffic_EW && !statusTraffic_NS) {
			  disableTraffic(T_EASTWEST, P_NORTH);   // Proceed by disabling the traffic in the EAST WEST direction and the NORTH pedestrian crossing
			  activateTraffic(T_NORTHSOUTH, P_WEST); // Then activate the traffic lights in the NORTH and SOUTH direction as well as the WEST pedestrian crossing
			  vTaskDelay(walkingDelay);				 // Keep the lights green for walkingDelay ms.
			  disableTraffic(T_NORTHSOUTH, P_WEST);	 // And continue by deactivating the NORTH and SOUTH direction traffic lights as well as the WEST pedestrian crossing
			  activateTraffic(T_EASTWEST, P_NORTH);	 // Then activate the EAST and WEST traffic again, and the NORTH pedestrian crossing
			  vTaskDelay(walkingDelay);				 // And keep the NORTH pedestrian crossing green for walkingDelay ms.
		  // Same scenario as the most recent else if statement, but this time the NORTH and SOUTH traffic direction has green lights when the buttons are pressed
		  }  else if (lastActive_NS && buttonNorthFlag && buttonWestFlag && !statusTraffic_EW && statusTraffic_NS) {
			  disableTraffic(T_NORTHSOUTH, P_WEST);	 // Do the same as in the previous else if statement but swap the traffic directions.
			  activateTraffic(T_EASTWEST, P_NORTH);
			  vTaskDelay(walkingDelay);
			  disableTraffic(T_EASTWEST, P_NORTH);
			  activateTraffic(T_NORTHSOUTH, P_WEST);
			  vTaskDelay(walkingDelay);
		  }
		  xSemaphoreGive(mutexHandle); // GIVE MUTEX
	  }
    osDelay(1);
  }
  /* USER CODE END StartDouble */
}
